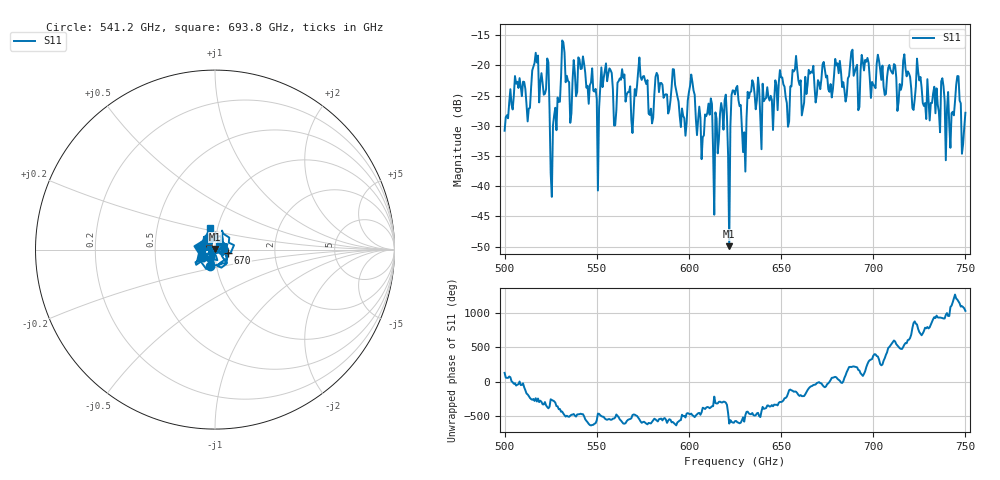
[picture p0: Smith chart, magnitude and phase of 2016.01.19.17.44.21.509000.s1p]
!Created with skrf (http://scikit-rf.org).
# GHz S RI R 50.0
!freq ReS11 ImS11
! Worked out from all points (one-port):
!   401 points, 500 GHz to 750 GHz, reference 50 ohm
!   lowest |S11| = -49.9 dB at 621.9 GHz (marker M1), VSWR 1.01, Z = 49.9 + j0.303 ohm
!   |S11| at or under -10 dB: start of sweep to end of sweep
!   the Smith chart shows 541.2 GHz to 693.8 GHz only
!   S11 on the Smith chart (normalised r, x): 541.2 GHz: 0.93, -0.17; 670 GHz: 1.16, -0.04; 693.8 GHz: 0.92, +0.22
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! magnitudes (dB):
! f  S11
! 500 GHz  -30.8
! 506.9 GHz  -22.7
! 513.1 GHz  -27.2
! 516.9 GHz  -17.9
! 523.1 GHz  -18.9
! 526.2 GHz  -29.9
! 531.2 GHz  -15.9
! 535.6 GHz  -29.5
! 541.2 GHz  -20.6
! 550 GHz  -25.6
! 553.8 GHz  -22.1
! 560 GHz  -29.9
! 562.5 GHz  -22.2
! 593.8 GHz  -25.2
! 611.2 GHz  -28.2
! 614.4 GHz  -27.8
! 618.8 GHz  -30.6
! 621.9 GHz  -49.9
! 625 GHz  -24.8
! 630 GHz  -31.1
! 633.8 GHz  -24.3
! 653.8 GHz  -30.2
! 656.2 GHz  -20.8
! 670 GHz  -22.5
! 687.5 GHz  -19.8
! 693.8 GHz  -18.3
! 718.8 GHz  -21.0
! 750 GHz  -27.9
